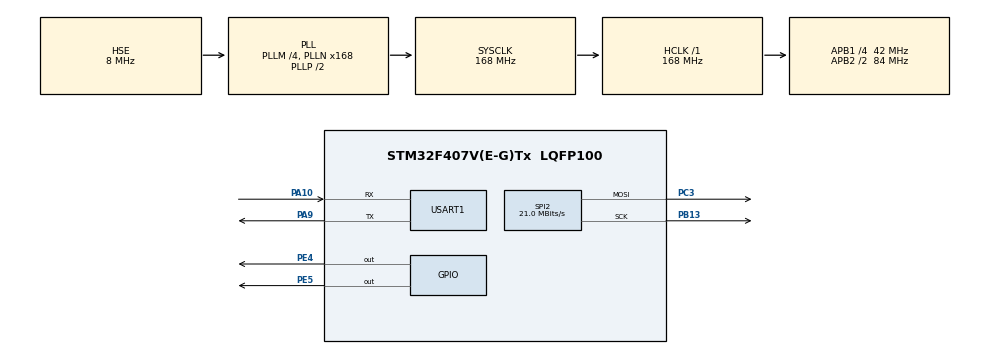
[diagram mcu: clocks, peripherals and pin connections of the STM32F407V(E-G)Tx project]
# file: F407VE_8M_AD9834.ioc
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Mcu.Family=STM32F4
Mcu.Name=STM32F407V(E-G)Tx
Mcu.Package=LQFP100
NVIC.PriorityGroup=NVIC_PRIORITYGROUP_4
NVIC.USART1_IRQn=true\:0\:0\:false\:false\:true\:true\:true
PA10.Mode=Asynchronous
PA10.Signal=USART1_RX
PA13.Mode=Serial_Wire
PA13.Signal=SYS_JTMS-SWDIO
PA14.Mode=Serial_Wire
PA14.Signal=SYS_JTCK-SWCLK
PA9.Mode=Asynchronous
PA9.Signal=USART1_TX
PB13.Mode=TX_Only_Simplex_Unidirect_Master
PB13.Signal=SPI2_SCK
PC14-OSC32_IN.Mode=LSE-External-Oscillator
PC14-OSC32_IN.Signal=RCC_OSC32_IN
PC15-OSC32_OUT.Mode=LSE-External-Oscillator
PC15-OSC32_OUT.Signal=RCC_OSC32_OUT
PC3.Mode=TX_Only_Simplex_Unidirect_Master
PC3.Signal=SPI2_MOSI
PE4.GPIO_ModeDefaultOutputPP=GPIO_MODE_OUTPUT_PP
PE4.GPIO_PuPd=GPIO_PULLUP
PE4.GPIO_Speed=GPIO_SPEED_FREQ_VERY_HIGH
PE4.PinState=GPIO_PIN_SET
PE4.Signal=GPIO_Output
PE5.GPIO_ModeDefaultOutputPP=GPIO_MODE_OUTPUT_PP
PE5.GPIO_PuPd=GPIO_PULLUP
PE5.GPIO_Speed=GPIO_SPEED_FREQ_VERY_HIGH
PE5.PinState=GPIO_PIN_SET
PE5.Signal=GPIO_Output
PH0-OSC_IN.Mode=HSE-External-Oscillator
PH0-OSC_IN.Signal=RCC_OSC_IN
PH1-OSC_OUT.Mode=HSE-External-Oscillator
PH1-OSC_OUT.Signal=RCC_OSC_OUT
ProjectManager.HeapSize=0x200
ProjectManager.StackSize=0x400
ProjectManager.TargetToolchain=MDK-ARM V5.32
RCC.48MHZClocksFreq_Value=84000000
RCC.AHBFreq_Value=168000000
RCC.APB1CLKDivider=RCC_HCLK_DIV4
RCC.APB1Freq_Value=42000000
RCC.APB1TimFreq_Value=84000000
RCC.APB2CLKDivider=RCC_HCLK_DIV2
RCC.APB2Freq_Value=84000000
RCC.APB2TimFreq_Value=168000000
RCC.CortexFreq_Value=168000000
RCC.HCLKFreq_Value=168000000
RCC.HSE_VALUE=8000000
RCC.HSI_VALUE=16000000
RCC.PLLM=4
RCC.PLLN=168
RCC.PLLSourceVirtual=RCC_PLLSOURCE_HSE
RCC.SYSCLKFreq_VALUE=168000000
RCC.SYSCLKSource=RCC_SYSCLKSOURCE_PLLCLK
RCC.VCOOutputFreq_Value=336000000
SPI2.CLKPhase=SPI_PHASE_1EDGE
SPI2.CLKPolarity=SPI_POLARITY_HIGH
SPI2.CalculateBaudRate=21.0 MBits/s
SPI2.DataSize=SPI_DATASIZE_16BIT
SPI2.Direction=SPI_DIRECTION_2LINES
SPI2.Mode=SPI_MODE_MASTER
SPI2.VirtualType=VM_MASTER
USART1.VirtualMode=VM_ASYNC
board=custom

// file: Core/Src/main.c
/* USER CODE BEGIN Header */
/**
  ******************************************************************************
  * @file           : main.c
  * @brief          : Main program body
  ******************************************************************************
  * @attention
  *
  * <h2><center>&copy; Copyright (c) 2021 STMicroelectronics.
  * All rights reserved.</center></h2>
  *
  * This software component is licensed by ST under BSD 3-Clause license,
  * the "License"; You may not use this file except in compliance with the
  * License. You may obtain a copy of the License at:
  *                        opensource.org/licenses/BSD-3-Clause
  *
  ******************************************************************************
  */
/* USER CODE END Header */
#include "main.h"
#include "spi.h"
#include "usart.h"
#include "gpio.h"

/* USER CODE BEGIN Includes */
#include "DELAY/delay.h"
#include "AD9834/ad9834.h"
#include "USART/myusart1.h"
#include "UTIL/util.h"
/* USER CODE END Includes */

void SystemClock_Config(void);

int main(void)
{
  /* USER CODE BEGIN 1 */
  char str[50];
  uint8_t type = 11;
  uint32_t freq = 1000000;
  uint32_t len;
  double cusFreq;
  /* USER CODE END 1 */

  /* MCU Configuration--------------------------------------------------------*/

  /* Reset of all peripherals, Initializes the Flash interface and the Systick. */
  HAL_Init();

  /* Configure the system clock */
  SystemClock_Config();

  /* Initialize all configured peripherals */
  MX_GPIO_Init();
  MX_USART1_UART_Init();
  MX_SPI2_Init();
  /* USER CODE BEGIN 2 */
  Delay_Init(168);
  MyUSART1_Init(&huart1);
  AD9834_Init(&hspi2);
  Delay_ms(100);
  printf("AD9834 Test\r\n");
  AD9834_SelectReg(0, 0);
  AD9834_SetFreq(freq, 0);
  AD9834_SetWaveType((AD9834_IoutWaveType)(type % 3), (AD9834_SoutWaveType)(type / 3));

  /* USER CODE END 2 */

  /* Infinite loop */
  while (1)
  {

    /* USER CODE BEGIN 3 */
    if ((len = MyUSART1_ReadUntil(str, '>'))) // use len as the condition
    {
      AD9834_SetRegSelSrc(0);
      //str[len - 1] = '\0';
      if (str[0] == '0') // Change Iout type
      {
        type++;
        type %= 12;
        AD9834_SetWaveType((AD9834_IoutWaveType)(type % 3), (AD9834_SoutWaveType)(type / 3));
        printf("Itype: %d, Stype: %d\r\n", type % 3, type / 3);
      }
      else if (str[0] == '1') // Change Sout type
      {
        type += 3;
        type %= 12;
        AD9834_SetWaveType((AD9834_IoutWaveType)(type % 3), (AD9834_SoutWaveType)(type / 3));
        printf("Itype: %d, Stype: %d\r\n", type % 3, type / 3);
      }
      else if (str[0] >= '2' && str[0] <= '7') // adjust frequency
      {
        if (str[0] == '2')
          freq += 10000;
        else if (str[0] == '3')
          freq -= 10000;
        else if (str[0] == '4')
          freq += 100000;
        else if (str[0] == '5')
          freq -= 100000;
        else if (str[0] == '6')
          freq += 500000;
        else if (str[0] == '7')
          freq -= 500000;
        AD9834_SetFreq(freq, 0);
        printf("Freq: %d\n", freq);
      }
      else if (str[0] == 'f') // custom frequency
      {
        cusFreq = myatof(str + 1);
        AD9834_SetFreq(cusFreq, 0);
        printf("Custom Freq: %f\r\n", cusFreq);
      }
      else if (str[0] == 'h') // Hardware register selection, use FSELECT/PSELECT to perform modulation
      {
        AD9834_SetRegSelSrc(1);
        AD9834_SetFreq(1000, 1);
        printf("Hardware register selection mode\r\n");
      }
    }
  }
  /* USER CODE END 3 */
}

void SystemClock_Config(void)
{
  RCC_OscInitTypeDef RCC_OscInitStruct = {0};
  RCC_ClkInitTypeDef RCC_ClkInitStruct = {0};

  /** Configure the main internal regulator output voltage
  */
  __HAL_RCC_PWR_CLK_ENABLE();
  __HAL_PWR_VOLTAGESCALING_CONFIG(PWR_REGULATOR_VOLTAGE_SCALE1);
  /** Initializes the RCC Oscillators according to the specified parameters
  * in the RCC_OscInitTypeDef structure.
  */
  RCC_OscInitStruct.OscillatorType = RCC_OSCILLATORTYPE_HSE;
  RCC_OscInitStruct.HSEState = RCC_HSE_ON;
  RCC_OscInitStruct.PLL.PLLState = RCC_PLL_ON;
  RCC_OscInitStruct.PLL.PLLSource = RCC_PLLSOURCE_HSE;
  RCC_OscInitStruct.PLL.PLLM = 4;
  RCC_OscInitStruct.PLL.PLLN = 168;
  RCC_OscInitStruct.PLL.PLLP = RCC_PLLP_DIV2;
  RCC_OscInitStruct.PLL.PLLQ = 4;
  if (HAL_RCC_OscConfig(&RCC_OscInitStruct) != HAL_OK)
  {
    Error_Handler();
  }
  /** Initializes the CPU, AHB and APB buses clocks
  */
  RCC_ClkInitStruct.ClockType = RCC_CLOCKTYPE_HCLK|RCC_CLOCKTYPE_SYSCLK
                              |RCC_CLOCKTYPE_PCLK1|RCC_CLOCKTYPE_PCLK2;
  RCC_ClkInitStruct.SYSCLKSource = RCC_SYSCLKSOURCE_PLLCLK;
  RCC_ClkInitStruct.AHBCLKDivider = RCC_SYSCLK_DIV1;
  RCC_ClkInitStruct.APB1CLKDivider = RCC_HCLK_DIV4;
  RCC_ClkInitStruct.APB2CLKDivider = RCC_HCLK_DIV2;

  if (HAL_RCC_ClockConfig(&RCC_ClkInitStruct, FLASH_LATENCY_5) != HAL_OK)
  {
    Error_Handler();
  }
}

void Error_Handler(void)
{
  __disable_irq();
  while (1)
  {
  }
}

/************************ (C) COPYRIGHT STMicroelectronics *****END OF FILE****/
